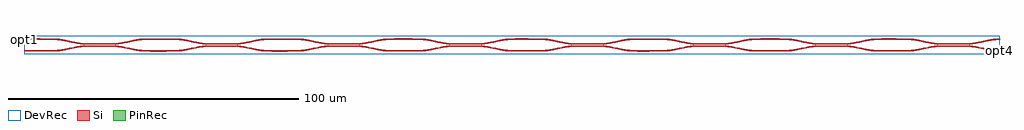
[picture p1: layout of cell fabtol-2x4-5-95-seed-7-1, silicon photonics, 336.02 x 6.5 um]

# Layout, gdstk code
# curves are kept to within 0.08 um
import gdstk
lib = gdstk.Library(unit=1e-6, precision=1e-09)
def R(c, l, rs):  # rectangles x0, y0, x1, y1
    for r in rs: c.add(gdstk.rectangle(r[:2], r[2:], *l))
def P(c, l, *ps):  # polygons
    for p in ps: c.add(gdstk.Polygon(p, *l))
Si = (1, 0)
PinRec = (1, 10)
DevRec = (68, 0)

layer_3_0_phase_sec_1_22 = lib.new_cell('layer-3_0_phase_sec_1$22')
P(layer_3_0_phase_sec_1_22, Si, [(2.222,-0.232),(0,-0.225),(0,0.225),(10,0.225),(10,-0.225)])

layer_0_0_phase_sec_0_22 = lib.new_cell('layer-0_0_phase_sec_0$22')
P(layer_0_0_phase_sec_0_22, Si, [(5.539,-0.241),(0,-0.225),(0,0.225),(10,0.225),(10,-0.225)])

layer_1_0_phase_sec_0_22 = lib.new_cell('layer-1_0_phase_sec_0$22')
P(layer_1_0_phase_sec_0_22, Si, [(2.718,-0.233),(0,-0.225),(0,0.225),(10,0.225),(10,-0.225)])

layer_0_0_phase_sec_1_22 = lib.new_cell('layer-0_0_phase_sec_1$22')
P(layer_0_0_phase_sec_1_22, Si, [(2.499,-0.227),(0,-0.225),(0,0.225),(10,0.225),(10,-0.225)])

layer_3_0_phase_sec_0_22 = lib.new_cell('layer-3_0_phase_sec_0$22')
P(layer_3_0_phase_sec_0_22, Si, [(7.953,-0.247),(0,-0.225),(0,0.225),(10,0.225),(10,-0.225)])

layer_0_0_phase_sec_3_22 = lib.new_cell('layer-0_0_phase_sec_3$22')
P(layer_0_0_phase_sec_3_22, Si, [(1.401,-0.242),(0,-0.225),(0,0.225),(10,0.225),(10,-0.225)])

layer_3_0_phase_sec_2_22 = lib.new_cell('layer-3_0_phase_sec_2$22')
P(layer_3_0_phase_sec_2_22, Si, [(1.269,-0.25),(0,-0.225),(0,0.225),(10,0.225),(10,-0.225)])

layer_1_0_phase_sec_1_22 = lib.new_cell('layer-1_0_phase_sec_1$22')
P(layer_1_0_phase_sec_1_22, Si, [(3.98,-0.247),(0,-0.225),(0,0.225),(10,0.225),(10,-0.225)])

layer_3_0_phase_sec_3_22 = lib.new_cell('layer-3_0_phase_sec_3$22')
P(layer_3_0_phase_sec_3_22, Si, [(1.421,-0.228),(0,-0.225),(0,0.225),(10,0.225),(10,-0.225)])

layer_1_0_phase_sec_2_22 = lib.new_cell('layer-1_0_phase_sec_2$22')
P(layer_1_0_phase_sec_2_22, Si, [(7.69,-0.245),(0,-0.225),(0,0.225),(10,0.225),(10,-0.225)])

layer_1_0_phase_sec_3_22 = lib.new_cell('layer-1_0_phase_sec_3$22')
P(layer_1_0_phase_sec_3_22, Si, [(4.377,-0.233),(0,-0.225),(0,0.225),(10,0.225),(10,-0.225)])

layer_2_0_phase_sec_1_22 = lib.new_cell('layer-2_0_phase_sec_1$22')
P(layer_2_0_phase_sec_1_22, Si, [(1.26,-0.231),(0,-0.225),(0,0.225),(10,0.225),(10,-0.225)])

layer_2_0_phase_sec_0_22 = lib.new_cell('layer-2_0_phase_sec_0$22')
P(layer_2_0_phase_sec_0_22, Si, [(4.488,-0.248),(0,-0.225),(0,0.225),(10,0.225),(10,-0.225)])

dc_arm_down_22 = lib.new_cell('dc_arm_down$22')
R(dc_arm_down_22, Si, [(12,-0.55,20,-0.1)])
P(dc_arm_down_22, Si, [(32,-2.225),(30.861,-2.188),(29.344,-2.033),(22.966,-0.793),(21.481,-0.613),(20,-0.55),(20,-0.1),(21.139,-0.137),(22.656,-0.292),(29.034,-1.532),(30.519,-1.712),(32,-1.775)],
  [(0,-2.225),(0,-1.775),(1.481,-1.712),(2.966,-1.532),(9.344,-0.292),(10.861,-0.137),(12,-0.1),(12,-0.55),(10.519,-0.613),(9.034,-0.793),(2.656,-2.033),(1.139,-2.188)])

dc_arm_up_22 = lib.new_cell('dc_arm_up$22')
R(dc_arm_up_22, Si, [(12,0.1,20,0.55)])
P(dc_arm_up_22, Si, [(20,0.1),(20,0.55),(21.481,0.613),(22.966,0.793),(29.344,2.033),(30.861,2.188),(32,2.225),(32,1.775),(30.519,1.712),(29.034,1.532),(22.656,0.292),(21.139,0.137)],
  [(12,0.1),(10.861,0.137),(9.344,0.292),(2.966,1.532),(1.481,1.712),(0,1.775),(0,2.225),(1.139,2.188),(2.656,2.033),(9.034,0.793),(10.519,0.613),(12,0.55)])

dc_22 = lib.new_cell('dc$22')
dc_22.add(gdstk.Reference(dc_arm_down_22, (0,0)))
dc_22.add(gdstk.Reference(dc_arm_up_22, (0,0)))

layer_2_0_phase_sec_2_22 = lib.new_cell('layer-2_0_phase_sec_2$22')
P(layer_2_0_phase_sec_2_22, Si, [(3.198,-0.233),(0,-0.225),(0,0.225),(10,0.225),(10,-0.225)])

layer_0_0_phase_sec_2_22 = lib.new_cell('layer-0_0_phase_sec_2$22')
P(layer_0_0_phase_sec_2_22, Si, [(1.219,-0.235),(0,-0.225),(0,0.225),(10,0.225),(10,-0.225)])

layer_2_0_phase_sec_3_22 = lib.new_cell('layer-2_0_phase_sec_3$22')
P(layer_2_0_phase_sec_3_22, Si, [(5.292,-0.246),(0,-0.225),(0,0.225),(10,0.225),(10,-0.225)])

fabtol_2x4_5_95_seed_7_1 = lib.new_cell('fabtol-2x4-5-95-seed-7-1')
R(fabtol_2x4_5_95_seed_7_1, DevRec, [(0,-1,336,5.497)])
fabtol_2x4_5_95_seed_7_1.add(gdstk.FlexPath([(335.99,0.247),(336.01,0.247)], 0.45, ends="flush", simple_path=True, layer=1, datatype=10))  # PinRec
fabtol_2x4_5_95_seed_7_1.add(gdstk.FlexPath([(335.99,4.247),(336.01,4.247)], 0.45, ends="flush", simple_path=True, layer=1, datatype=10))  # PinRec
fabtol_2x4_5_95_seed_7_1.add(gdstk.FlexPath([(0.01,4.247),(-0.01,4.247)], 0.45, ends="flush", simple_path=True, layer=1, datatype=10))  # PinRec
fabtol_2x4_5_95_seed_7_1.add(gdstk.Reference(layer_3_0_phase_sec_1_22, (252,0.247)))
fabtol_2x4_5_95_seed_7_1.add(gdstk.Reference(layer_0_0_phase_sec_0_22, (0,4.247)))
fabtol_2x4_5_95_seed_7_1.add(gdstk.Reference(layer_1_0_phase_sec_0_22, (84,4.247)))
fabtol_2x4_5_95_seed_7_1.add(gdstk.Reference(layer_0_0_phase_sec_1_22, (0,0.247)))
fabtol_2x4_5_95_seed_7_1.add(gdstk.Reference(layer_3_0_phase_sec_0_22, (252,4.247)))
fabtol_2x4_5_95_seed_7_1.add(gdstk.Reference(layer_0_0_phase_sec_3_22, (42,0.247)))
fabtol_2x4_5_95_seed_7_1.add(gdstk.Reference(layer_3_0_phase_sec_2_22, (294,4.247)))
fabtol_2x4_5_95_seed_7_1.add(gdstk.Reference(layer_1_0_phase_sec_1_22, (84,0.247)))
fabtol_2x4_5_95_seed_7_1.add(gdstk.Reference(layer_3_0_phase_sec_3_22, (294,0.247)))
fabtol_2x4_5_95_seed_7_1.add(gdstk.Reference(layer_1_0_phase_sec_2_22, (126,4.247)))
fabtol_2x4_5_95_seed_7_1.add(gdstk.Reference(layer_1_0_phase_sec_3_22, (126,0.247)))
fabtol_2x4_5_95_seed_7_1.add(gdstk.Reference(layer_2_0_phase_sec_1_22, (168,0.247)))
fabtol_2x4_5_95_seed_7_1.add(gdstk.Reference(layer_2_0_phase_sec_0_22, (168,4.247)))
fabtol_2x4_5_95_seed_7_1.add(gdstk.Reference(dc_22, (10,2.247)))
fabtol_2x4_5_95_seed_7_1.add(gdstk.Reference(dc_22, (52,2.247)))
fabtol_2x4_5_95_seed_7_1.add(gdstk.Reference(dc_22, (94,2.247)))
fabtol_2x4_5_95_seed_7_1.add(gdstk.Reference(dc_22, (136,2.247)))
fabtol_2x4_5_95_seed_7_1.add(gdstk.Reference(dc_22, (178,2.247)))
fabtol_2x4_5_95_seed_7_1.add(gdstk.Reference(dc_22, (220,2.247)))
fabtol_2x4_5_95_seed_7_1.add(gdstk.Reference(dc_22, (262,2.247)))
fabtol_2x4_5_95_seed_7_1.add(gdstk.Reference(dc_22, (304,2.247)))
fabtol_2x4_5_95_seed_7_1.add(gdstk.Reference(layer_2_0_phase_sec_2_22, (210,4.247)))
fabtol_2x4_5_95_seed_7_1.add(gdstk.Reference(layer_0_0_phase_sec_2_22, (42,4.247)))
fabtol_2x4_5_95_seed_7_1.add(gdstk.Reference(layer_2_0_phase_sec_3_22, (210,0.247)))
fabtol_2x4_5_95_seed_7_1.add(gdstk.Label('opt4', (336,0.247), layer=1, texttype=10))
fabtol_2x4_5_95_seed_7_1.add(gdstk.Label('opt3', (336,4.247), layer=1, texttype=10))
fabtol_2x4_5_95_seed_7_1.add(gdstk.Label('opt1', (0,4.247), layer=1, texttype=10))

lib.write_gds('fabtol-2x4-5-95-seed-7-1.gds')
